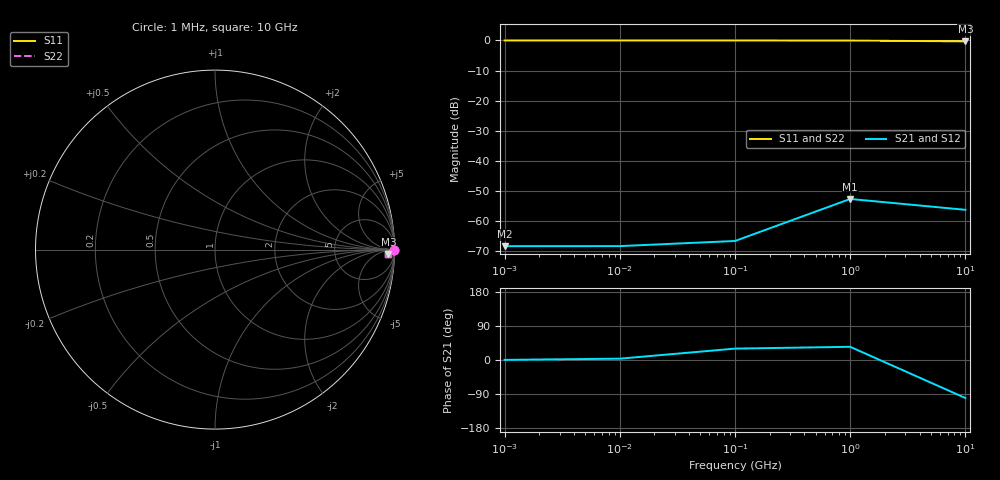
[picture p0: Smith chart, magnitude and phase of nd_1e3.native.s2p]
! Sonnet Data File
! From: em Version : 18.53-Lite
! From Project: nd_1e3
! Data is NOT De-embedded
! Data File Written: 10/12/2026 12:47:19
!< HDATE 10/12/2026 12:47:19
!< MDATE 10/12/2026 12:47:19
# GHZ S RI R 50.00000
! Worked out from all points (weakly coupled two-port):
!   5 points, 1 MHz to 10 GHz, reference 50 ohm
!   highest |S21| = -52.58 dB at 1 GHz (marker M1); lowest = -68.2 dB at 1 MHz (marker M2)
!   lowest |S11| = -0.3 dB at 10 GHz (marker M3), VSWR 57.88, Z = 1.93e+03 - j1.36e+03 ohm
!   |S11| at or under -10 dB: nowhere
!   |S22| runs from -0.3 to 0.0 dB; largest |S21 - S12| = 0
0.001  0.9996 -1.38e-05  0.000387 2.38e-06  0.000387 2.38e-06  0.9996 -1.38e-05
0.01  0.9996 -0.000138  0.000387 2.38e-05  0.000387 2.38e-05  0.9996 -0.000138
0.1  0.9996 -0.00137  0.000409 0.000236  0.000409 0.000236  0.9996 -0.00137
1  0.9954 -0.0119  0.00193 0.00134  0.00193 0.00134  0.9954 -0.0119
10  0.9657 -0.0236  -0.000279 -0.00153  -0.000279 -0.00153  0.9657 -0.0236
